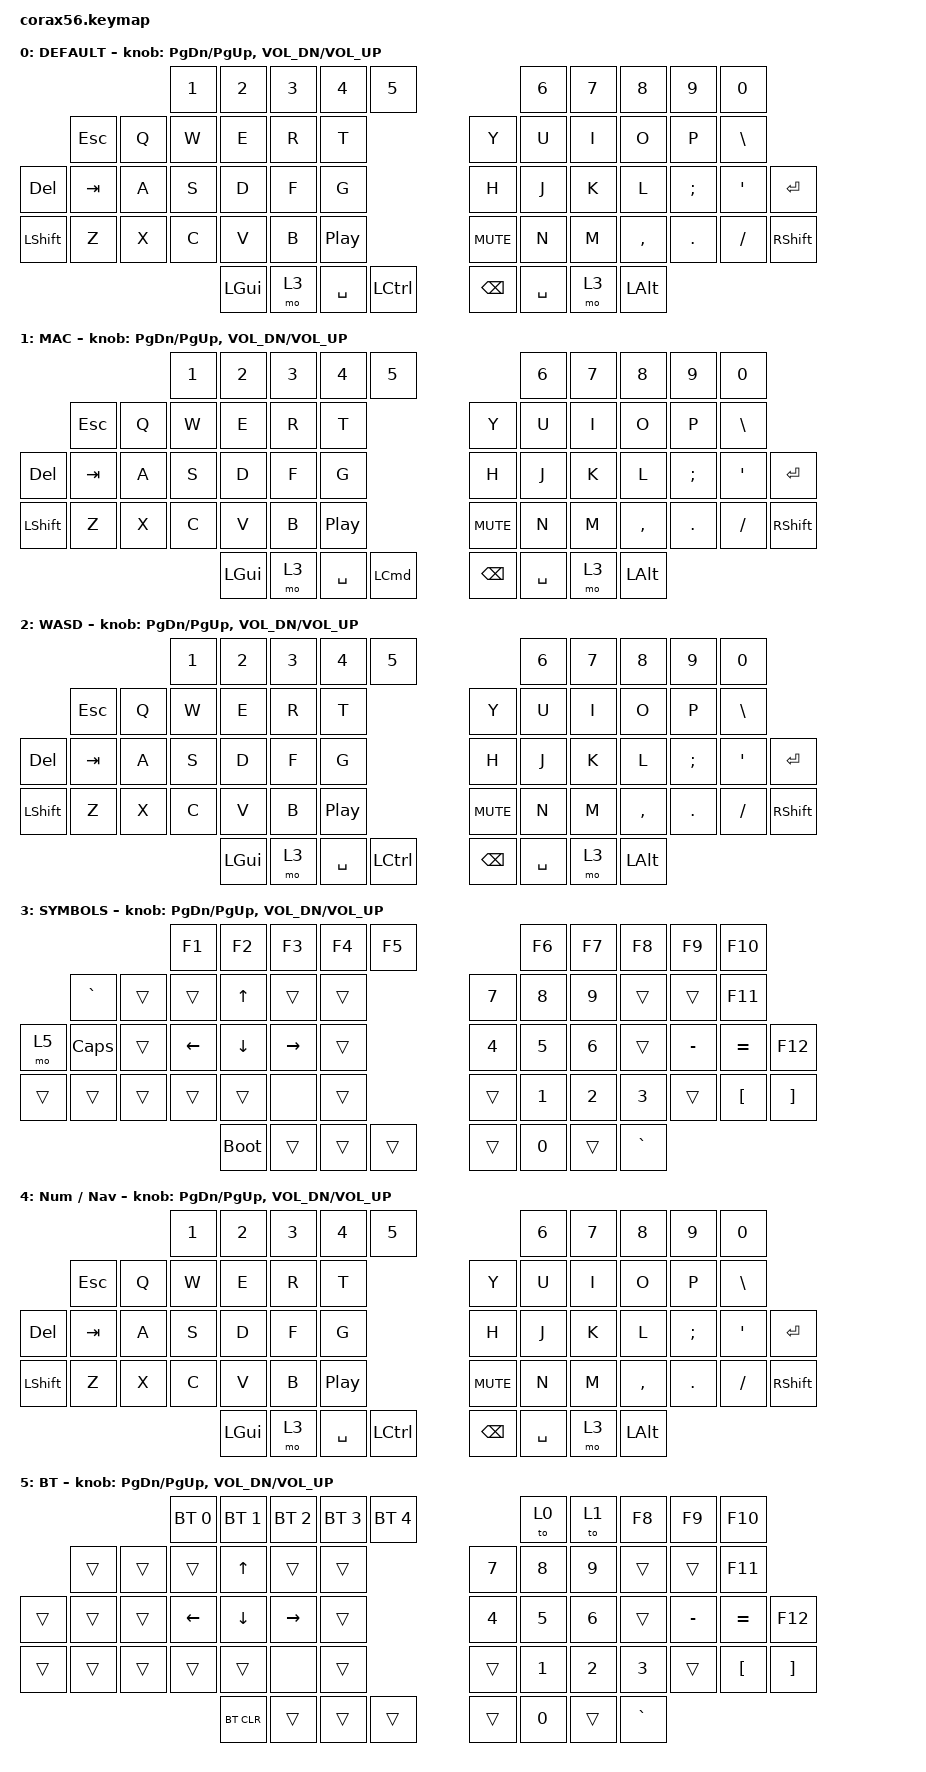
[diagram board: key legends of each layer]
#include <behaviors.dtsi>
#include <dt-bindings/zmk/bt.h>
#include <dt-bindings/zmk/keys.h>
#include <dt-bindings/zmk/outputs.h>

#define DEFAULT 0
#define MAC 1
#define WASD 2
#define SYM 3
#define NAV 4
#define ADJUST 5

// tapdance timing
#define TAPTERM 100

// additional caps word keys
&caps_word {
    continue-list = <UNDERSCORE MINUS LS(MINUS) UP DOWN LEFT RIGHT BSPC DEL>;
};

// faster layertap
&lt {
    quick-tap-ms = <0>;
    tapping-term-ms = <200>;
};

// faster modtap
&mt {
    tapping-term-ms = <200>;
};

/ {

    //macros {
        // undead `
    //    ud_grave: ud_grave {
    //        label = "UNDEAD_GRAVE";
    //        compatible = "zmk,behavior-macro";
    //        #binding-cells = <0>;
    //        wait-ms = <10>;
    //        tap-ms = <10>;
    //        bindings = <&kp GRAVE &kp SPACE>;
    //    };

        // undead ~
    //    ud_tilde: ud_tilde {
    //        label = "UNDEAD_TILDE";
    //        compatible = "zmk,behavior-macro";
    //        #binding-cells = <0>;
    //        wait-ms = <10>;
    //        tap-ms = <10>;
    //       bindings = <&kp TILDE &kp SPACE>;
    //    };

        // undead ^
    //    ud_caret: ud_caret {
    //        label = "UNDEAD_CARET";
    //        compatible = "zmk,behavior-macro";
    //        #binding-cells = <0>;
    //        wait-ms = <10>;
    //        tap-ms = <10>;
    //        bindings = <&kp CARET &kp SPACE>;
    //    };

        // undead '
    //    ud_sqt: ud_sqt {
    //        label = "UNDEAD_SINGLE_QUOTE";
    //        compatible = "zmk,behavior-macro";
    //        #binding-cells = <0>;
    //        wait-ms = <10>;
    //        tap-ms = <10>;
    //        bindings = <&kp SQT &kp SPACE>;
    //    };

        // undead "
    //    ud_dqt: ud_dqt {
    //        label = "UNDEAD_DOUBLE_QUOTE";
    //        compatible = "zmk,behavior-macro";
    //        #binding-cells = <0>;
    //        wait-ms = <10>;
    //        tap-ms = <10>;
    //        bindings = <&kp LS(SQT) &kp SPACE>;
    //    };

    //};

    combos {
        compatible = "zmk,combos";

        gm_capsword {
            bindings = <&caps_word>;
            // caps on G+H
            key-positions = <28 29>;
        };

        sticky_adjust {
            bindings = <&sl ADJUST>;
            // sticky adjust layer on LALT+RALT
            key-positions = <51 56>;
        };
    };

    keymap {
        compatible = "zmk,keymap";

        default_layer {
            label = "DEFAULT";
            bindings = <
                         &kp N1  &kp N2    &kp N3   &kp N4  &kp N5                               &kp N6    &kp N7    &kp N8   &kp N9    &kp N0
                &kp ESC   &kp Q   &kp W     &kp E    &kp R   &kp T                                &kp Y     &kp U     &kp I    &kp O     &kp P   &kp BSLH
&kp DEL         &kp TAB   &kp A   &kp S     &kp D    &kp F   &kp G                                &kp H     &kp J     &kp K    &kp L  &kp SEMI    &kp SQT  &kp ENTER
              &kp LSHFT   &kp Z   &kp X     &kp C    &kp V   &kp B     &kp C_PP           &kp C_MUTE   &kp N      &kp M &kp COMMA  &kp DOT  &kp FSLH  &kp RSHFT
                                         &kp LGUI  &mo 3 &kp SPACE     &kp LCTRL       &kp BSPC &kp SPACE   &mo 3  &kp LALT
            >;

            sensor-bindings = <&inc_dec_kp PG_DN PG_UP &inc_dec_kp C_VOL_DN C_VOL_UP>;
        };

        mac_layer {
            label = "MAC";
            bindings = <
                         &kp N1  &kp N2    &kp N3   &kp N4  &kp N5                               &kp N6    &kp N7    &kp N8   &kp N9    &kp N0
                &kp ESC   &kp Q   &kp W     &kp E    &kp R   &kp T                                &kp Y     &kp U     &kp I    &kp O     &kp P   &kp BSLH
&kp DEL         &kp TAB   &kp A   &kp S     &kp D    &kp F   &kp G                                &kp H     &kp J     &kp K    &kp L  &kp SEMI    &kp SQT  &kp ENTER
              &kp LSHFT   &kp Z   &kp X     &kp C    &kp V   &kp B     &kp C_PP           &kp C_MUTE   &kp N      &kp M &kp COMMA  &kp DOT  &kp FSLH  &kp RSHFT
                                         &kp LGUI  &mo 3 &kp SPACE     &kp LCMD        &kp BSPC &kp SPACE   &mo 3  &kp LALT
            >;

            sensor-bindings = <&inc_dec_kp PG_DN PG_UP &inc_dec_kp C_VOL_DN C_VOL_UP>;
        };

        gaming_layer {
            label = "WASD";
            bindings = <
                         &kp N1  &kp N2    &kp N3   &kp N4  &kp N5                               &kp N6    &kp N7    &kp N8   &kp N9    &kp N0
                &kp ESC   &kp Q   &kp W     &kp E    &kp R   &kp T                                &kp Y     &kp U     &kp I    &kp O     &kp P   &kp BSLH
&kp DEL         &kp TAB   &kp A   &kp S     &kp D    &kp F   &kp G                                &kp H     &kp J     &kp K    &kp L  &kp SEMI    &kp SQT  &kp ENTER
              &kp LSHFT   &kp Z   &kp X     &kp C    &kp V   &kp B     &kp C_PP           &kp C_MUTE   &kp N      &kp M &kp COMMA  &kp DOT  &kp FSLH  &kp RSHFT
                                         &kp LGUI  &mo 3 &kp SPACE     &kp LCTRL       &kp BSPC &kp SPACE   &mo 3  &kp LALT
            >;

            sensor-bindings = <&inc_dec_kp PG_DN PG_UP &inc_dec_kp C_VOL_DN C_VOL_UP>;
        };

        // left mod
        sym_layer {
            label = "SYMBOLS";
            bindings = <
                            &kp F1   &kp F2     &kp F3      &kp F4     &kp F5                     &kp F6   &kp F7   &kp F8  &kp F9   &kp F10
            &kp GRAVE &trans   &trans     &kp UP      &trans     &trans                     &kp N7   &kp N8   &kp N9     &trans   &trans   &kp F11
&mo 5       &kp CLCK  &trans   &kp LEFT   &kp DOWN    &kp RIGHT  &trans                     &kp N4   &kp N5   &kp N6     &trans   &kp MINUS   &kp EQUAL  &kp F12
             &trans   &trans   &trans     &trans      &trans     &none   &trans     &trans  &kp N1   &kp N2   &kp N3     &trans   &kp LBKT   &kp RBKT
                                                &bootloader &trans     &trans  &trans     &trans  &kp N0   &trans   &kp GRAVE
            >;

            sensor-bindings = <&inc_dec_kp PG_DN PG_UP &inc_dec_kp C_VOL_DN C_VOL_UP>;
        };

        // right mod
        nav_layer {
            label = "Num / Nav";
            bindings = <
                         &kp N1  &kp N2    &kp N3   &kp N4  &kp N5                               &kp N6    &kp N7    &kp N8   &kp N9    &kp N0
                &kp ESC   &kp Q   &kp W     &kp E    &kp R   &kp T                                &kp Y     &kp U     &kp I    &kp O     &kp P   &kp BSLH
&kp DEL         &kp TAB   &kp A   &kp S     &kp D    &kp F   &kp G                                &kp H     &kp J     &kp K    &kp L  &kp SEMI    &kp SQT  &kp ENTER
              &kp LSHFT   &kp Z   &kp X     &kp C    &kp V   &kp B     &kp C_PP           &kp C_MUTE   &kp N      &kp M &kp COMMA  &kp DOT  &kp FSLH  &kp RSHFT
                                         &kp LGUI  &mo 3 &kp SPACE     &kp LCTRL       &kp BSPC &kp SPACE   &mo 3  &kp LALT
            >;

            sensor-bindings = <&inc_dec_kp PG_DN PG_UP &inc_dec_kp C_VOL_DN C_VOL_UP>;
        };

        adjust_layer {
            label = "BT";
            bindings = <
                            &bt BT_SEL 0   &bt BT_SEL 1     &bt BT_SEL 2      &bt BT_SEL 3     &bt BT_SEL 4                     &to 0   &to 1   &kp F8  &kp F9   &kp F10
             &trans   &trans   &trans     &kp UP      &trans     &trans                     &kp N7   &kp N8   &kp N9     &trans   &trans   &kp F11
&trans   &trans   &trans   &kp LEFT   &kp DOWN    &kp RIGHT  &trans                     &kp N4   &kp N5   &kp N6     &trans   &kp MINUS   &kp EQUAL  &kp F12
             &trans   &trans   &trans     &trans      &trans     &none   &trans     &trans  &kp N1   &kp N2   &kp N3     &trans   &kp LBKT   &kp RBKT
                                                &bt BT_CLR &trans     &trans  &trans     &trans  &kp N0   &trans   &kp GRAVE
            >;

            sensor-bindings = <&inc_dec_kp PG_DN PG_UP &inc_dec_kp C_VOL_DN C_VOL_UP>;
        };
    };
};
